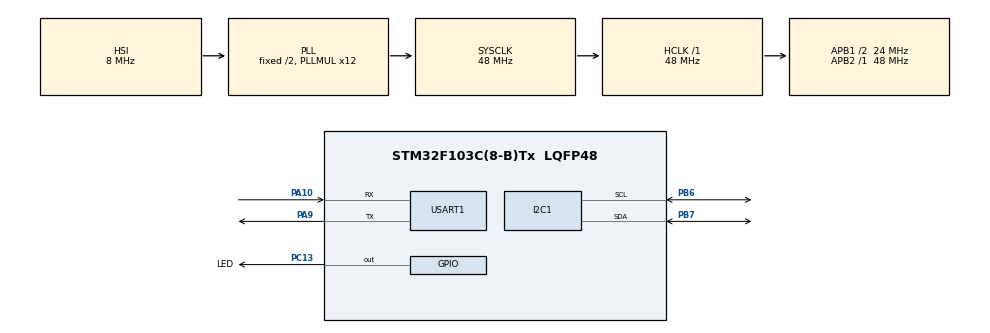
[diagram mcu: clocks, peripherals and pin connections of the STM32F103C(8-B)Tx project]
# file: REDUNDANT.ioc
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Mcu.Family=STM32F1
Mcu.Name=STM32F103C(8-B)Tx
Mcu.Package=LQFP48
NVIC.PriorityGroup=NVIC_PRIORITYGROUP_4
PA10.Mode=Asynchronous
PA10.Signal=USART1_RX
PA13.Mode=Serial_Wire
PA13.Signal=SYS_JTMS-SWDIO
PA14.Mode=Serial_Wire
PA14.Signal=SYS_JTCK-SWCLK
PA9.Mode=Asynchronous
PA9.Signal=USART1_TX
PB6.Mode=I2C
PB6.Signal=I2C1_SCL
PB7.Mode=I2C
PB7.Signal=I2C1_SDA
PC13-TAMPER-RTC.GPIO_Label=LED
PC13-TAMPER-RTC.Signal=GPIO_Output
ProjectManager.HeapSize=0x200
ProjectManager.StackSize=0x400
ProjectManager.TargetToolchain=STM32CubeIDE
RCC.AHBFreq_Value=48000000
RCC.APB1CLKDivider=RCC_HCLK_DIV2
RCC.APB1Freq_Value=24000000
RCC.APB1TimFreq_Value=48000000
RCC.APB2Freq_Value=48000000
RCC.APB2TimFreq_Value=48000000
RCC.HCLKFreq_Value=48000000
RCC.PLLMUL=RCC_PLL_MUL12
RCC.SYSCLKFreq_VALUE=48000000
RCC.SYSCLKSource=RCC_SYSCLKSOURCE_PLLCLK
RCC.USBFreq_Value=48000000
USART1.VirtualMode=VM_ASYNC
board=custom

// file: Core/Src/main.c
/* USER CODE BEGIN Header */
/**
  ******************************************************************************
  * @file           : main.c
  * @brief          : Main program body
  ******************************************************************************
  * @attention
  *
  * Copyright (c) 2023 STMicroelectronics.
  * All rights reserved.
  *
  * This software is licensed under terms that can be found in the LICENSE file
  * in the root directory of this software component.
  * If no LICENSE file comes with this software, it is provided AS-IS.
  *
  ******************************************************************************
  */
/* USER CODE END Header */
#include "main.h"

/* USER CODE BEGIN Includes */
#include "string.h"
/* USER CODE END Includes */

I2C_HandleTypeDef hi2c1;

UART_HandleTypeDef huart1;

/* USER CODE BEGIN PV */
uint8_t ADDRESS_MAIN = 90;
uint8_t ADDRESS_REDUNDANT = 92;

uint8_t i2cTxBuf[8]= {0};
uint8_t i2cRxBuf[8]= {0};
uint8_t REDUNDANT_TAKEOVER[8] = {125, 4, 1, 0, 0, 0, 0, 0};
/* USER CODE END PV */

void SystemClock_Config(void);
static void MX_GPIO_Init(void);
static void MX_I2C1_Init(void);
static void MX_USART1_UART_Init(void);

/* USER CODE BEGIN 0 */
void serialPrint(char *string){
	uint8_t len = strlen(string);
	HAL_UART_Transmit(&huart1, (uint8_t *)string, len, 2000);
}

void blink(int delayOn, int delayOff){
	HAL_GPIO_WritePin(LED_GPIO_Port, LED_Pin, GPIO_PIN_SET);
	serialPrint("LED OFF\n\r");
	HAL_Delay(delayOff);

	HAL_GPIO_WritePin(LED_GPIO_Port, LED_Pin, GPIO_PIN_RESET);
	serialPrint("LED ON\n\r");
	HAL_Delay(delayOn);

	HAL_GPIO_WritePin(LED_GPIO_Port, LED_Pin, GPIO_PIN_SET);
	serialPrint("LED OFF\n\r");
	HAL_Delay(delayOff);
}
/* USER CODE END 0 */

int main(void)
{

  /* MCU Configuration--------------------------------------------------------*/

  /* Reset of all peripherals, Initializes the Flash interface and the Systick. */
  HAL_Init();

  /* Configure the system clock */
  SystemClock_Config();

  /* Initialize all configured peripherals */
  MX_GPIO_Init();
  MX_I2C1_Init();
  MX_USART1_UART_Init();

  /* Infinite loop */
  while (1)
  {

    /* USER CODE BEGIN 3 */
	  serialPrint("Test Receiving Data via I2C ... ");
	  if(HAL_I2C_Slave_Receive(&hi2c1, i2cRxBuf, sizeof(i2cRxBuf), 1000) == HAL_OK){
		  serialPrint("Receive Successfully ... ");
	  } else {
		  serialPrint("Receive Failed\r\n");
	  }
  }
  /* USER CODE END 3 */
}

void SystemClock_Config(void)
{
  RCC_OscInitTypeDef RCC_OscInitStruct = {0};
  RCC_ClkInitTypeDef RCC_ClkInitStruct = {0};

  /** Initializes the RCC Oscillators according to the specified parameters
  * in the RCC_OscInitTypeDef structure.
  */
  RCC_OscInitStruct.OscillatorType = RCC_OSCILLATORTYPE_HSI;
  RCC_OscInitStruct.HSIState = RCC_HSI_ON;
  RCC_OscInitStruct.HSICalibrationValue = RCC_HSICALIBRATION_DEFAULT;
  RCC_OscInitStruct.PLL.PLLState = RCC_PLL_ON;
  RCC_OscInitStruct.PLL.PLLSource = RCC_PLLSOURCE_HSI_DIV2;
  RCC_OscInitStruct.PLL.PLLMUL = RCC_PLL_MUL12;
  if (HAL_RCC_OscConfig(&RCC_OscInitStruct) != HAL_OK)
  {
    Error_Handler();
  }

  /** Initializes the CPU, AHB and APB buses clocks
  */
  RCC_ClkInitStruct.ClockType = RCC_CLOCKTYPE_HCLK|RCC_CLOCKTYPE_SYSCLK
                              |RCC_CLOCKTYPE_PCLK1|RCC_CLOCKTYPE_PCLK2;
  RCC_ClkInitStruct.SYSCLKSource = RCC_SYSCLKSOURCE_PLLCLK;
  RCC_ClkInitStruct.AHBCLKDivider = RCC_SYSCLK_DIV1;
  RCC_ClkInitStruct.APB1CLKDivider = RCC_HCLK_DIV2;
  RCC_ClkInitStruct.APB2CLKDivider = RCC_HCLK_DIV1;

  if (HAL_RCC_ClockConfig(&RCC_ClkInitStruct, FLASH_LATENCY_1) != HAL_OK)
  {
    Error_Handler();
  }
}

static void MX_I2C1_Init(void)
{

  hi2c1.Instance = I2C1;
  hi2c1.Init.ClockSpeed = 100000;
  hi2c1.Init.DutyCycle = I2C_DUTYCYCLE_2;
  hi2c1.Init.OwnAddress1 = ADDRESS_REDUNDANT;
  hi2c1.Init.AddressingMode = I2C_ADDRESSINGMODE_7BIT;
  hi2c1.Init.DualAddressMode = I2C_DUALADDRESS_DISABLE;
  hi2c1.Init.OwnAddress2 = 0;
  hi2c1.Init.GeneralCallMode = I2C_GENERALCALL_DISABLE;
  hi2c1.Init.NoStretchMode = I2C_NOSTRETCH_DISABLE;
  if (HAL_I2C_Init(&hi2c1) != HAL_OK)
  {
    Error_Handler();
  }

}

static void MX_USART1_UART_Init(void)
{

  huart1.Instance = USART1;
  huart1.Init.BaudRate = 115200;
  huart1.Init.WordLength = UART_WORDLENGTH_8B;
  huart1.Init.StopBits = UART_STOPBITS_1;
  huart1.Init.Parity = UART_PARITY_NONE;
  huart1.Init.Mode = UART_MODE_TX_RX;
  huart1.Init.HwFlowCtl = UART_HWCONTROL_NONE;
  huart1.Init.OverSampling = UART_OVERSAMPLING_16;
  if (HAL_UART_Init(&huart1) != HAL_OK)
  {
    Error_Handler();
  }

}

static void MX_GPIO_Init(void)
{
  GPIO_InitTypeDef GPIO_InitStruct = {0};

  /* GPIO Ports Clock Enable */
  __HAL_RCC_GPIOC_CLK_ENABLE();
  __HAL_RCC_GPIOA_CLK_ENABLE();
  __HAL_RCC_GPIOB_CLK_ENABLE();

  /*Configure GPIO pin Output Level */
  HAL_GPIO_WritePin(LED_GPIO_Port, LED_Pin, GPIO_PIN_RESET);

  /*Configure GPIO pin : LED_Pin */
  GPIO_InitStruct.Pin = LED_Pin;
  GPIO_InitStruct.Mode = GPIO_MODE_OUTPUT_PP;
  GPIO_InitStruct.Pull = GPIO_NOPULL;
  GPIO_InitStruct.Speed = GPIO_SPEED_FREQ_LOW;
  HAL_GPIO_Init(LED_GPIO_Port, &GPIO_InitStruct);

}

void Error_Handler(void)
{
  __disable_irq();
  while (1)
  {
  }
}
